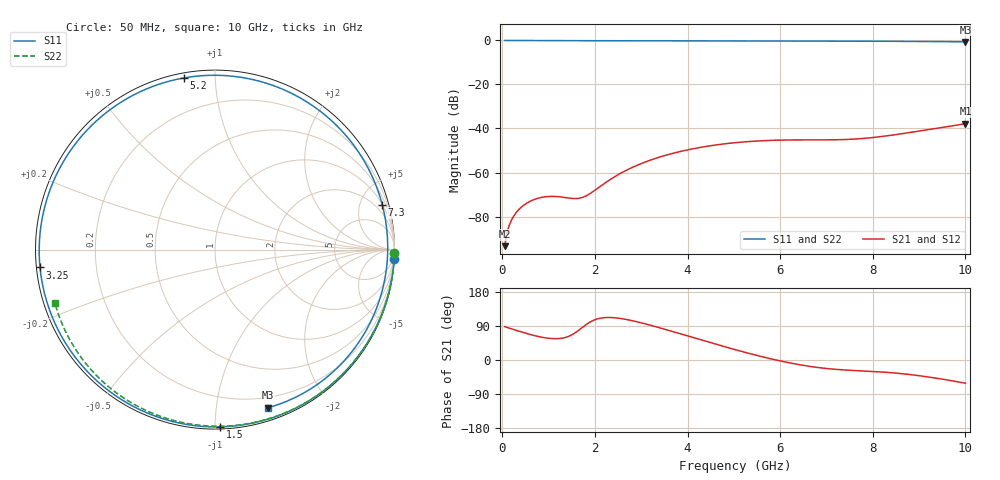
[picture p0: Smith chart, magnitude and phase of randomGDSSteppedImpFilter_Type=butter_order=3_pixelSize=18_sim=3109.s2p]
! freq	dB(S11)	phase(S11)	dB(S12)	phase(S12)
!  dB(S21)	phase(S21)	dB(S22)	phase(S22)
!S-par simulation data
#  GHz  S  DB  R 50
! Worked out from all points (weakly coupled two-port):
!   200 points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, 50 MHz to 10 GHz, reference 50 ohm
!   highest |S21| = -37.86 dB at 10 GHz (marker M1); lowest = -93.5 dB at 50 MHz (marker M2)
!   lowest |S11| = -0.6 dB at 10 GHz (marker M3), VSWR 27.23, Z = 5.36 - j69.1 ohm
!   |S11| at or under -10 dB: nowhere
!   |S22| runs from -0.5 to 0.0 dB; largest |S21 - S12| = 0
!   S11 on the Smith chart (normalised r, x): 50 MHz: 0, -37; 1.5 GHz: 0.01, -1.03; 3.25 GHz: 0.01, -0.05; 5.2 GHz: 0.02, +0.83; 7.3 GHz: 1.04, +7.47; 10 GHz: 0.11, -1.38
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0.05  -0.00 -3.1  -93.47 88.0  -93.47 88.0  -0.00 -1.0
0.25  -0.02 -15.4  -79.69 80.2  -79.69 80.2  -0.01 -4.7
0.5  -0.04 -30.6  -74.31 71.0  -74.31 71.0  -0.01 -9.4
0.8  -0.06 -48.6  -71.54 61.4  -71.54 61.4  -0.02 -15.0
1.15  -0.08 -68.8  -70.89 56.2  -70.89 56.2  -0.03 -21.5
1.5  -0.10 -88.2  -71.77 66.3  -71.77 66.3  -0.04 -28.0
1.75  -0.12 -101.6  -71.18 88.0  -71.18 88.0  -0.04 -32.6
2.15  -0.13 -122.1  -65.78 111.0  -65.78 111.0  -0.05 -39.8
2.55  -0.15 -141.6  -60.42 109.7  -60.42 109.7  -0.06 -46.9
3.25  -0.18 -174.2  -54.00 90.1  -54.00 90.1  -0.08 -59.1
3.4  -0.18 179.1  -52.97 85.0  -52.97 85.0  -0.08 -61.6
4.15  -0.21 145.9  -49.08 58.2  -49.08 58.2  -0.10 -74.2
4.6  -0.23 126.2  -47.51 42.1  -47.51 42.1  -0.12 -81.5
5.05  -0.24 106.8  -46.41 26.6  -46.41 26.6  -0.14 -88.6
5.2  -0.25 100.4  -46.13 21.6  -46.13 21.6  -0.14 -91.0
5.9  -0.27 70.7  -45.34 0.3  -45.34 0.3  -0.18 -101.7
6.7  -0.29 38.1  -45.19 -17.9  -45.19 -17.9  -0.22 -113.7
7.3  -0.31 15.0  -45.09 -25.6  -45.09 -25.6  -0.26 -122.5
7.8  -0.34 -3.2  -44.52 -29.0  -44.52 -29.0  -0.30 -129.7
8.35  -0.38 -21.9  -43.22 -33.0  -43.22 -33.0  -0.35 -137.6
9.2  -0.49 -48.5  -40.51 -44.8  -40.51 -44.8  -0.44 -149.8
10  -0.64 -71.5  -37.86 -61.3  -37.86 -61.3  -0.53 -161.4
